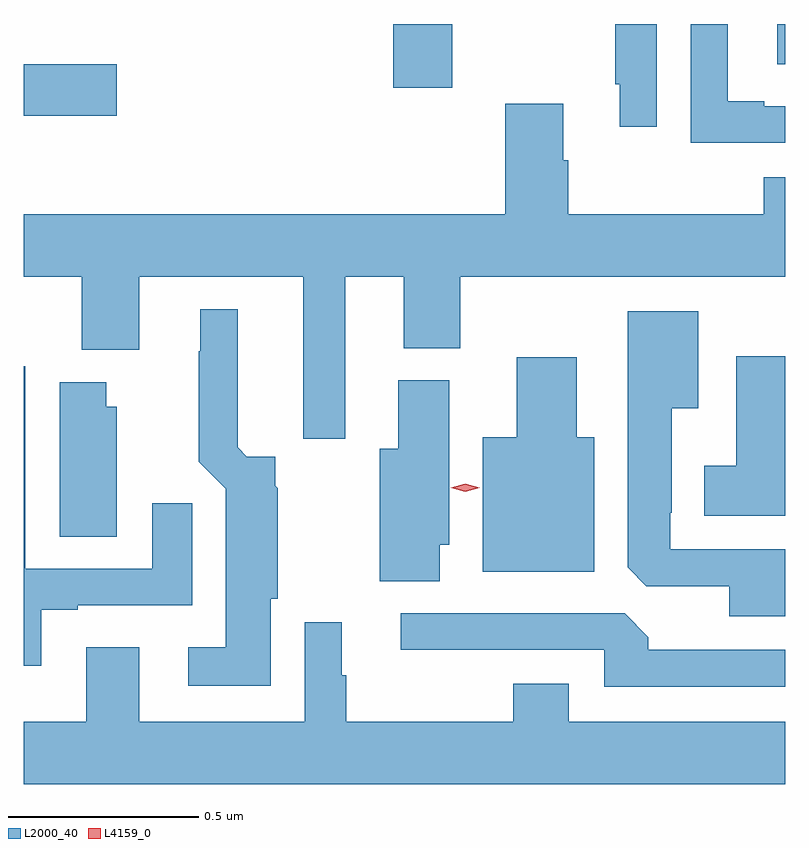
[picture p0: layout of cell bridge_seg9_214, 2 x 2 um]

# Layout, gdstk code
import gdstk
lib = gdstk.Library(unit=1e-6, precision=1e-09)
def R(c, l, rs):  # rectangles x0, y0, x1, y1
    for r in rs: c.add(gdstk.rectangle(r[:2], r[2:], *l))
def P(c, l, *ps):  # polygons
    for p in ps: c.add(gdstk.Polygon(p, *l))
L2000_40 = (2000, 40)
L4159_0 = (4159, 0)

bridge_seg9_214 = lib.new_cell('bridge_seg9_214')
R(bridge_seg9_214, L2000_40, [(193.239,1202.171,193.483,1202.306), (194.21,1202.244,194.364,1202.412), (195.218,1202.306,195.239,1202.412)])
P(bridge_seg9_214, L2000_40, [(194.901,1202.412),(194.793,1202.412),(194.793,1202.254),(194.804,1202.254),(194.804,1202.142),(194.901,1202.142)],
  [(195.239,1202.196),(195.184,1202.196),(195.184,1202.209),(195.088,1202.209),(195.088,1202.412),(194.991,1202.412),(194.991,1202.1),(195.239,1202.1)],
  [(194.083,1201.748),(194.237,1201.748),(194.237,1201.561),(194.385,1201.561),(194.385,1201.748),(195.239,1201.748),(195.239,1202.01),(195.182,1202.01),(195.182,1201.912),(194.669,1201.912),(194.669,1202.054),(194.656,1202.054),(194.656,1202.203),(194.504,1202.203),(194.504,1201.912),(193.239,1201.912),(193.239,1201.748),(193.391,1201.748),(193.391,1201.556),(193.543,1201.556),(193.543,1201.748),(193.973,1201.748),(193.973,1201.323),(194.083,1201.323)],
  [(193.888,1200.903),(193.906,1200.903),(193.906,1201.193),(193.9,1201.199),(193.9,1201.275),(193.825,1201.275),(193.801,1201.3),(193.801,1201.663),(193.703,1201.663),(193.703,1201.553),(193.699,1201.553),(193.699,1201.262),(193.769,1201.192),(193.769,1200.775),(193.671,1200.775),(193.671,1200.674),(193.888,1200.674)],
  [(195.239,1201.032),(194.937,1201.032),(194.937,1201.129),(194.941,1201.129),(194.941,1201.403),(195.01,1201.403),(195.01,1201.657),(194.825,1201.657),(194.825,1200.985),(194.874,1200.936),(195.092,1200.936),(195.092,1200.857),(195.239,1200.857)],
  [(195.239,1201.54),(195.11,1201.54),(195.11,1201.252),(195.026,1201.252),(195.026,1201.121),(195.239,1201.121)],
  [(194.737,1201.327),(194.692,1201.327),(194.692,1201.537),(194.534,1201.537),(194.534,1201.327),(194.444,1201.327),(194.444,1200.974),(194.737,1200.974)],
  [(193.285,1200.873),(193.381,1200.873),(193.381,1200.885),(193.681,1200.885),(193.681,1201.153),(193.577,1201.153),(193.577,1200.981),(193.243,1200.981),(193.243,1201.513),(193.239,1201.513),(193.239,1200.726),(193.285,1200.726)],
  [(194.332,1201.044),(194.356,1201.044),(194.356,1201.476),(194.222,1201.476),(194.222,1201.297),(194.174,1201.297),(194.174,1200.949),(194.332,1200.949)],
  [(193.483,1201.407),(193.456,1201.407),(193.456,1201.471),(193.334,1201.471),(193.334,1201.066),(193.483,1201.066)],
  [(195.239,1200.768),(194.879,1200.768),(194.879,1200.802),(194.817,1200.864),(194.229,1200.864),(194.229,1200.768),(194.763,1200.768),(194.763,1200.672),(195.239,1200.672)],
  [(195.239,1200.58),(194.671,1200.58),(194.671,1200.679),(194.524,1200.679),(194.524,1200.58),(194.086,1200.58),(194.086,1200.702),(194.074,1200.702),(194.074,1200.841),(193.977,1200.841),(193.977,1200.58),(193.543,1200.58),(193.543,1200.775),(193.403,1200.775),(193.403,1200.58),(193.239,1200.58),(193.239,1200.416),(195.239,1200.416)])
P(bridge_seg9_214, L4159_0, [(194.399,1201.184),(194.36,1201.194),(194.36,1201.194),(194.36,1201.194),(194.399,1201.204),(194.437,1201.194),(194.437,1201.194),(194.437,1201.194)])

lib.write_gds('bridge_seg9_214.gds')
